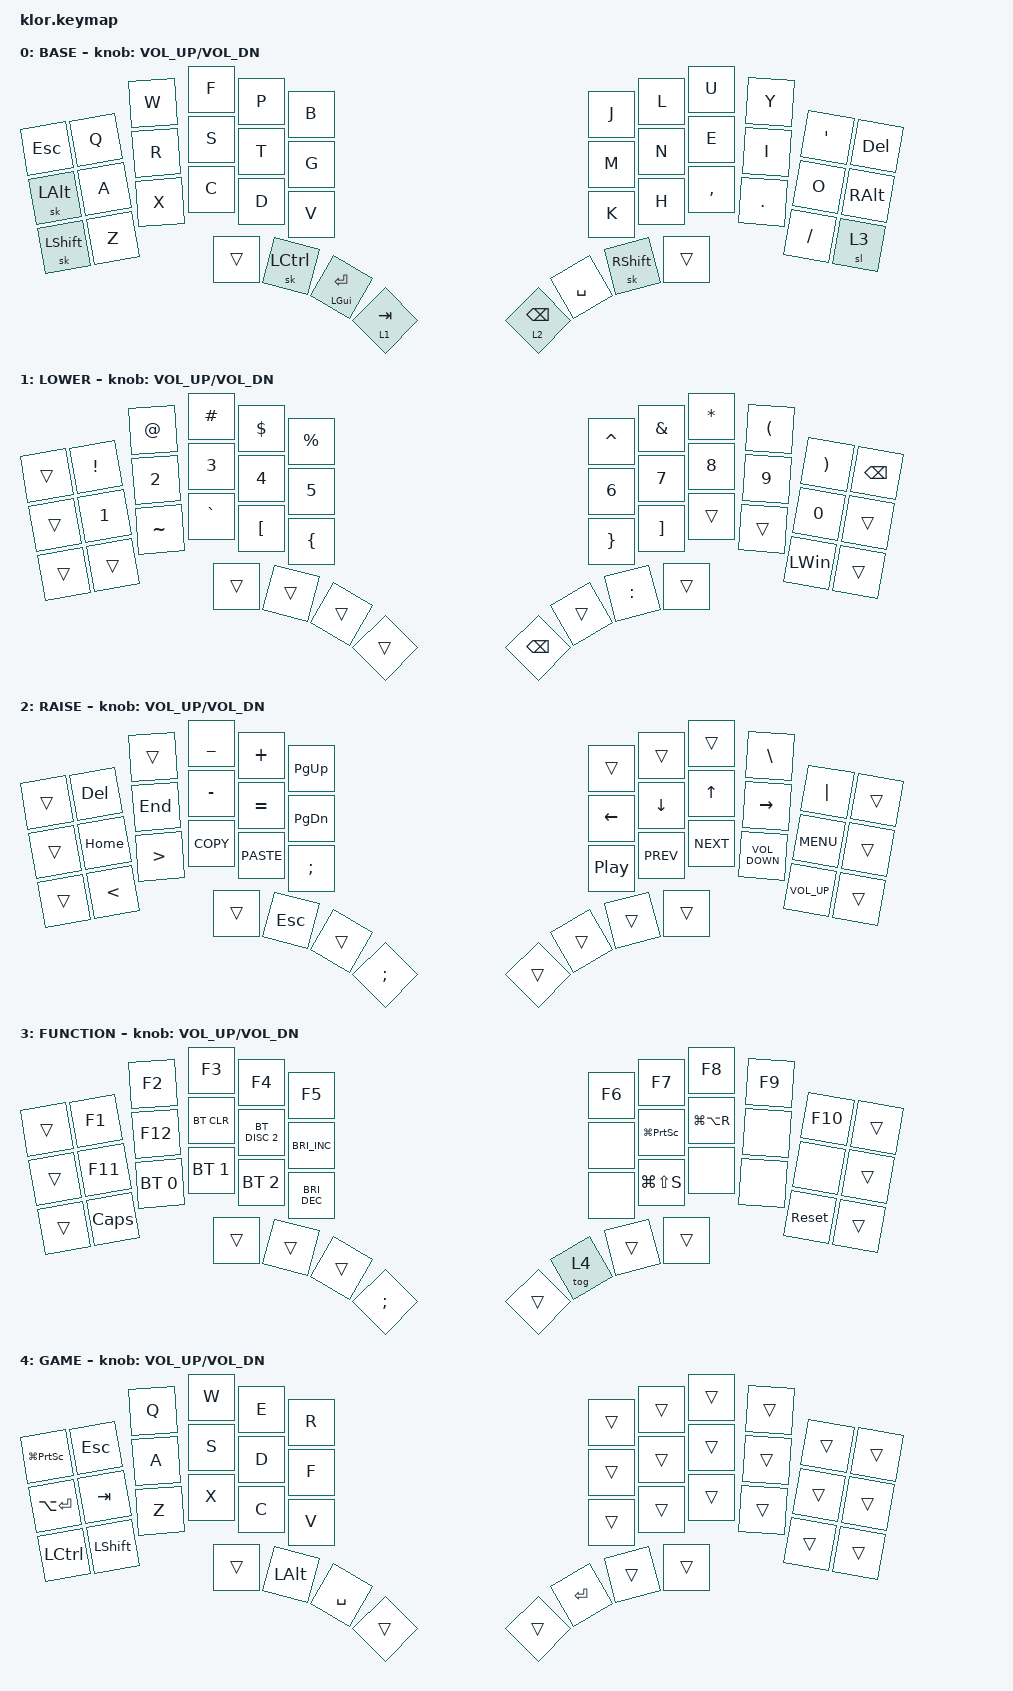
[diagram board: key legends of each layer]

//                               █         █    █            ▄▄▄▀▀▀▀▀▀▄▄▄        █▀▀▀▀▀▀▀▀▀▀█
//                               █        █     █          ▄▀            ▀▄      █          █
//                               █       █      █        ▄▀                ▀▄    █          █
//                               █      █       █        █                  █    █          █
//                               █     █        █       █                    █   █          █
//                               █    █         █       █                    █   █▄▄▄▄▄▄▄▄▄▄█
//                               █   █ █        █       █                    █   █      █
//                               █  █   █       █        █                  █    █       █
//                               █ █     █      █        ▀▄                ▄▀    █        █
//                               ██       █     █          ▀▄            ▄▀      █         █
//                               █         █    █▄▄▄▄▄▄▄▄    ▀▀▀▄▄▄▄▄▄▀▀▀        █          █
//
// ▄▄▄▄▄▄▄▄▄▄▄▄▄▄▄▄▄▄▄▄▄▄▄▄▄▄▄▄▄▄▄▄▄▄▄▄▄▄▄▄▄▄▄▄▄▄▄▄▄▄▄▄▄▄▄▄▄▄▄▄▄▄▄▄▄▄▄▄▄▄▄▄▄▄▄▄▄▄▄▄▄▄▄▄▄▄▄▄▄▄▄▄▄▄▄▄▄▄▄▄▄▄▄▄▄▄▄▄▄▄▄▄▄▄▄▄▄▄▄▄▄▄▄▄▄
       
#include <behaviors.dtsi>
#include <dt-bindings/zmk/keys.h>
#include <dt-bindings/zmk/bt.h>
#include <dt-bindings/zmk/outputs.h>
#include <dt-bindings/zmk/ext_power.h>

#define BASE   0
#define LOWER  1
#define RAISE  2
#define ADJUST 3


/ {
    behaviors {
        hm: homerow_mods {
            compatible = "zmk,behavior-hold-tap";
            label = "HOMEROW_MODS";
            #binding-cells = <2>;
            tapping-term-ms = <150>;
            quick_tap_ms = <0>;
            flavor = "tap-preferred";
            bindings = <&kp>, <&kp>;
        };

    };

     combos {
            compatible = "zmk,combos";
            combo_esc {
                timeout-ms = <50>;
                key-positions = <0 1>;
                bindings = <&kp ESC>;
            };
    };



        keymap {
                compatible = "zmk,keymap";
// ▄▄▄▄▄▄▄▄▄▄▄▄▄▄▄▄▄▄▄▄▄▄▄▄▄▄▄▄▄▄▄▄▄▄▄▄▄▄▄▄▄▄▄▄▄▄▄▄▄▄▄▄▄▄▄▄▄▄▄▄▄▄▄▄▄▄▄▄▄▄▄▄▄▄▄▄▄▄▄▄▄▄▄▄▄▄▄▄▄▄▄▄▄▄▄▄▄▄▄▄▄▄▄▄▄▄▄▄▄▄▄▄▄▄▄▄▄▄▄▄▄▄▄▄▄▄▄▄▄▄▄▄▄▄▄▄▄▄▄▄▄▄


                base_layer {
// ┌───────────────────────────────────────────────────────────┐
label= "BASE"                                                  ;
// └───────────────────────────────────────────────────────────┘
/*           ┌─────────┬─────────┬─────────┬─────────┬─────────┐                    ┌─────────┬─────────┬─────────┬─────────┬─────────┐
             │    Q    │    W    │    F    │    P    │    G    │                    │    J    │    L    │    U    │    Y    │    ;    │   
   ┌─────────┼─────────┼─────────┼─────────┼─────────┼─────────┤                    ├─────────┼─────────┼─────────┼─────────┼─────────┼─────────┐
   │   TAB   │    A    │    R    │    S    │    T    │    D    │                    │    H    │    N    │    E    │    I    │    O    │    "    │
   ├─────────┼─────────┼─────────┼─────────┼─────────┼─────────┤╭────────╮╭────────╮├─────────┼─────────┼─────────┼─────────┼─────────┼─────────┤
   │   DEL   │    Z    │    X    │    C    │    V    │    B    ││  MUTE  ││PLY/PSE ││    K    │    M    │    ,    │    .    │    /    │    \    │
   └─────────┴─────────┴─────────┼─────────┼─────────┼─────────┼╰────────╯╰────────╯┼─────────┼─────────┼─────────┼─────────┴─────────┴─────────┘
                                 │  CTRL   │  LOWER  │  SPACE  │   ALT   ││ CMD/WIN │  ENTER  │  RAISE  │  BSPCE  │  
                                 └─────────┴─────────┴─────────┴─────────┘└─────────┴─────────┴─────────┴─────────┘ */ 
 bindings = <
 //╷         ╷         ╷         ╷         ╷         ╷         ╷         ╷╷         ╷         ╷         ╷         ╷         ╷         ╷         ╷
&kp ESCAPE    &kp Q  &kp W   &kp F             &kp P         &kp B        &kp J       &kp L      &kp U      &kp Y    &kp SINGLE_QUOTE  &kp DELETE
&sk LALT      &kp A  &kp R   &kp S             &kp T         &kp G        &kp M       &kp N      &kp E      &kp I    &kp O             &kp RIGHT_ALT
&sk LSHFT     &kp Z  &kp X   &kp C             &kp D         &kp V        &kp K       &kp H      &kp COMMA  &kp DOT  &kp FSLH          &sl 3
                     &trans  &sk LEFT_CONTROL  &mt LGUI RET  &lt 1 TAB    &lt 2 BSPC  &kp SPACE  &sk RSHFT  &trans
                        >;
            sensor-bindings = <&inc_dec_kp C_VOL_UP C_VOL_DN>;
                };

// ▄▄▄▄▄▄▄▄▄▄▄▄▄▄▄▄▄▄▄▄▄▄▄▄▄▄▄▄▄▄▄▄▄▄▄▄▄▄▄▄▄▄▄▄▄▄▄▄▄▄▄▄▄▄▄▄▄▄▄▄▄▄▄▄▄▄▄▄▄▄▄▄▄▄▄▄▄▄▄▄▄▄▄▄▄▄▄▄▄▄▄▄▄▄▄▄▄▄▄▄▄▄▄▄▄▄▄▄▄▄▄▄▄▄▄▄▄▄▄▄▄▄▄▄▄▄▄▄▄▄▄▄▄▄▄▄▄▄▄▄▄▄


                lower_layer {
// ┌───────────────────────────────────────────────────────────┐
label= "LOWER"                                                 ;
// └───────────────────────────────────────────────────────────┘
/*           ┌─────────┬─────────┬─────────┬─────────┬─────────┐                    ┌─────────┬─────────┬─────────┬─────────┬─────────┐
             │         │         │    UP   │         │    {    │                    │    }    │    7    │    8    │    9    │    +    │
   ┌─────────┼─────────┼─────────┼─────────┼─────────┼─────────┤                    ├─────────┼─────────┼─────────┼─────────┼─────────┼─────────┐
   │         │         │   LEFT  │  DOWN   │  RIGHT  │    [    │                    │    ]    │    4    │    5    │    6    │    -    │         │
   ├─────────┼─────────┼─────────┼─────────┼─────────┼─────────┤╭────────╮╭────────╮├─────────┼─────────┼─────────┼─────────┼─────────┼─────────┤
   │         │         │   P UP  │ C LOCK  │ P DOWN  │    (    ││        ││        ││    )    │    1    │    2    │    3    │    *    │         │
   └─────────┴─────────┴─────────┼─────────┼─────────┼─────────┼╰────────╯╰────────╯┼─────────┼─────────┼─────────┼─────────┴─────────┴─────────┘
                                 │         │         │         │         ││         │         │    0    │         │  
                                 └─────────┴─────────┴─────────┴─────────┘└─────────┴─────────┴─────────┴─────────┘ */ 
 bindings = <
 //╷         ╷         ╷         ╷         ╷         ╷         ╷         ╷╷         ╷         ╷         ╷         ╷         ╷         ╷         ╷
&trans  &kp EXCLAMATION  &kp AT_SIGN   &kp HASH      &kp DOLLAR        &kp PERCENT       &kp CARET        &kp AMPERSAND      &kp ASTERISK  &kp LEFT_PARENTHESIS  &kp RIGHT_PARENTHESIS  &kp BSPC
&trans  &kp NUMBER_1     &kp NUMBER_2  &kp NUMBER_3  &kp NUMBER_4      &kp NUMBER_5      &kp NUMBER_6     &kp NUMBER_7       &kp NUMBER_8  &kp NUMBER_9          &kp NUMBER_0           &trans
&trans  &trans           &kp TILDE     &kp GRAVE     &kp LEFT_BRACKET  &kp LEFT_BRACE    &kp RIGHT_BRACE  &kp RIGHT_BRACKET  &trans        &trans                &kp LEFT_WIN           &trans
                         &trans        &trans        &trans            &trans            &kp BACKSPACE    &trans             &kp COLON     &trans
                        >;
            sensor-bindings = <&inc_dec_kp C_VOL_UP C_VOL_DN>;
                };

// ▄▄▄▄▄▄▄▄▄▄▄▄▄▄▄▄▄▄▄▄▄▄▄▄▄▄▄▄▄▄▄▄▄▄▄▄▄▄▄▄▄▄▄▄▄▄▄▄▄▄▄▄▄▄▄▄▄▄▄▄▄▄▄▄▄▄▄▄▄▄▄▄▄▄▄▄▄▄▄▄▄▄▄▄▄▄▄▄▄▄▄▄▄▄▄▄▄▄▄▄▄▄▄▄▄▄▄▄▄▄▄▄▄▄▄▄▄▄▄▄▄▄▄▄▄


                raise_layer {
// ┌───────────────────────────────────────────────────────────┐
label= "RAISE"                                                 ;
// └───────────────────────────────────────────────────────────┘
/*           ┌─────────┬─────────┬─────────┬─────────┬─────────┐                    ┌─────────┬─────────┬─────────┬─────────┬─────────┐
             │         │         │         │         │         │                    │         │         │    Ü    │         │         │
   ┌─────────┼─────────┼─────────┼─────────┼─────────┼─────────┤                    ├─────────┼─────────┼─────────┼─────────┼─────────┼─────────┐
   │    Ä    │         │    ß    │         │         │         │                    │         │         │         │         │    Ö    │         │
   ├─────────┼─────────┼─────────┼─────────┼─────────┼─────────┤╭────────╮╭────────╮├─────────┼─────────┼─────────┼─────────┼─────────┼─────────┤
   │         │         │         │         │         │         ││        ││        ││         │         │         │         │         │         │
   └─────────┴─────────┴─────────┼─────────┼─────────┼─────────┼╰────────╯╰────────╯┼─────────┼─────────┼─────────┼─────────┴─────────┴─────────┘
                                 │ ADJUST  │         │         │         ││         │         │         │         │  
                                 └─────────┴─────────┴─────────┴─────────┘└─────────┴─────────┴─────────┴─────────┘ */ 
 bindings = <
 //╷         ╷         ╷         ╷         ╷         ╷         ╷         ╷╷         ╷         ╷         ╷         ╷         ╷         ╷         ╷
&trans  &kp DELETE  &trans   &kp UNDER   &kp PLUS     &kp PAGE_UP      &trans            &trans      &trans      &kp BSLH           &kp PIPE         &trans
&trans  &kp HOME    &kp END  &kp MINUS   &kp EQUAL    &kp PAGE_DOWN    &kp LEFT          &kp DOWN    &kp UP      &kp RIGHT          &kp K_MENU       &trans
&trans  &kp LT      &kp GT   &kp K_COPY  &kp K_PASTE  &kp SEMI         &kp C_PLAY_PAUSE  &kp C_PREV  &kp C_NEXT  &kp C_VOLUME_DOWN  &kp C_VOLUME_UP  &trans
                    &trans   &kp ESCAPE  &trans       &kp SEMICOLON    &trans            &trans      &trans      &trans
                        >;
                sensor-bindings = <&inc_dec_kp C_VOL_UP C_VOL_DN>;
                };

// ▄▄▄▄▄▄▄▄▄▄▄▄▄▄▄▄▄▄▄▄▄▄▄▄▄▄▄▄▄▄▄▄▄▄▄▄▄▄▄▄▄▄▄▄▄▄▄▄▄▄▄▄▄▄▄▄▄▄▄▄▄▄▄▄▄▄▄▄▄▄▄▄▄▄▄▄▄▄▄▄▄▄▄▄▄▄▄▄▄▄▄▄▄▄▄▄▄▄▄▄▄▄▄▄▄▄▄▄▄▄▄▄▄▄▄▄▄▄▄▄▄▄▄▄▄


                function_layer {
// ┌───────────────────────────────────────────────────────────┐
label= "FUNCTION"                                                ;
// └───────────────────────────────────────────────────────────┘
/*           ┌─────────┬─────────┬─────────┬─────────┬─────────┐                    ┌─────────┬─────────┬─────────┬─────────┬─────────┐
             │         │         │         │         │         │                    │         │         │         │         │         │
   ┌─────────┼─────────┼─────────┼─────────┼─────────┼─────────┤                    ├─────────┼─────────┼─────────┼─────────┼─────────┼─────────┐
   │         │         │         │         │         │         │                    │         │         │         │         │         │         │
   ├─────────┼─────────┼─────────┼─────────┼─────────┼─────────┤╭────────╮╭────────╮├─────────┼─────────┼─────────┼─────────┼─────────┼─────────┤
   │         │         │         │         │         │         ││        ││        ││         │         │         │         │         │         │
   └─────────┴─────────┴─────────┼─────────┼─────────┼─────────┼╰────────╯╰────────╯┼─────────┼─────────┼─────────┼─────────┴─────────┴─────────┘
                                 │         │         │         │         ││         │         │         │         │  
                                 └─────────┴─────────┴─────────┴─────────┘└─────────┴─────────┴─────────┴─────────┘ */ 
 bindings = <
 //╷         ╷         ╷         ╷         ╷         ╷         ╷         ╷╷         ╷         ╷         ╷         ╷         ╷         ╷         ╷
&trans  &kp F1    &kp F2        &kp F3        &kp F4         &kp F5                  &kp F6  &kp F7               &kp F8         &kp F9  &kp F10     &trans
&trans  &kp F11   &kp F12       &bt BT_CLR    &bt BT_DISC 2  &kp C_BRIGHTNESS_INC    &none   &kp LG(PRINTSCREEN)  &kp LG(LA(R))  &none   &none       &trans
&trans  &kp CAPS  &bt BT_SEL 0  &bt BT_SEL 1  &bt BT_SEL 2   &kp C_BRIGHTNESS_DEC    &none   &kp LG(LS(S))        &none          &none   &sys_reset  &trans
                  &trans        &trans        &trans         &kp SEMICOLON           &trans  &tog 4               &trans         &trans
                        >;
            sensor-bindings = <&inc_dec_kp C_VOL_UP C_VOL_DN>;
                };

                game_layer {
// ┌───────────────────────────────────────────────────────────┐
label= "GAME"                                                ;
// └───────────────────────────────────────────────────────────┘
/*           ┌─────────┬─────────┬─────────┬─────────┬─────────┐                    ┌─────────┬─────────┬─────────┬─────────┬─────────┐
             │         │         │         │         │         │                    │         │         │         │         │         │
   ┌─────────┼─────────┼─────────┼─────────┼─────────┼─────────┤                    ├─────────┼─────────┼─────────┼─────────┼─────────┼─────────┐
   │         │         │         │         │         │         │                    │         │         │         │         │         │         │
   ├─────────┼─────────┼─────────┼─────────┼─────────┼─────────┤╭────────╮╭────────╮├─────────┼─────────┼─────────┼─────────┼─────────┼─────────┤
   │         │         │         │         │         │         ││        ││        ││         │         │         │         │         │         │
   └─────────┴─────────┴─────────┼─────────┼─────────┼─────────┼╰────────╯╰────────╯┼─────────┼─────────┼─────────┼─────────┴─────────┴─────────┘
                                 │         │         │         │         ││         │         │         │         │  
                                 └─────────┴─────────┴─────────┴─────────┘└─────────┴─────────┴─────────┴─────────┘ */ 
 bindings = <
 //╷         ╷         ╷         ╷         ╷         ╷         ╷         ╷╷         ╷         ╷         ╷         ╷         ╷         ╷         ╷
&kp LG(PRINTSCREEN)  &kp ESCAPE      &kp Q   &kp W         &kp E      &kp R     &trans  &trans     &trans  &trans  &trans  &trans
&kp LA(ENTER)        &kp TAB         &kp A   &kp S         &kp D      &kp F     &trans  &trans     &trans  &trans  &trans  &trans
&kp LEFT_CONTROL     &kp LEFT_SHIFT  &kp Z   &kp X         &kp C      &kp V     &trans  &trans     &trans  &trans  &trans  &trans
                                     &trans  &kp LEFT_ALT  &kp SPACE  &trans    &trans  &kp RET    &trans  &trans
                        >;
            sensor-bindings = <&inc_dec_kp C_VOL_UP C_VOL_DN>;
                };
                
                extra1 {
                    status = "reserved";
                };

                extra2 {
                    status = "reserved";
                };
        };
};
